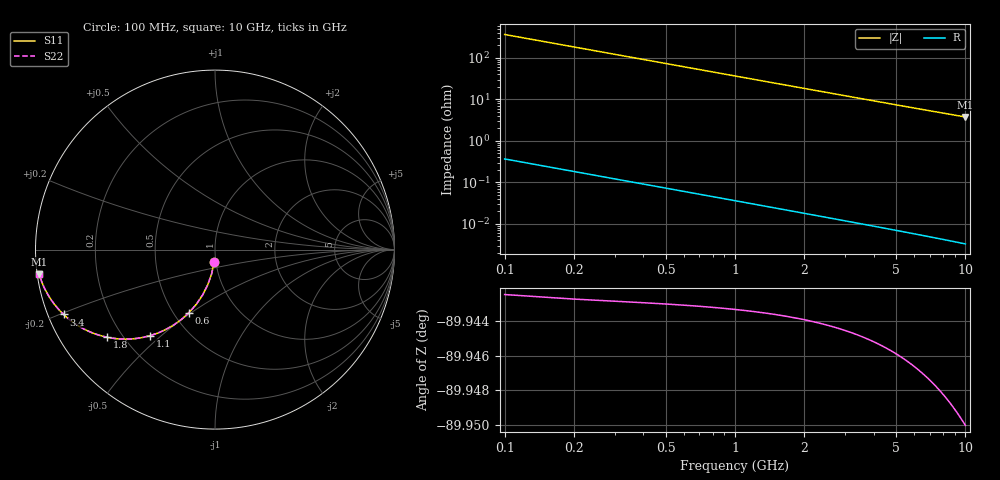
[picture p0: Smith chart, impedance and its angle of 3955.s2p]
# Hz S RI R 50.00
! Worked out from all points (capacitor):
!   100 points, 100 MHz to 10 GHz, reference 50 ohm
!   read as one part in shunt: C = 4.36 pF near 100 MHz
!   lowest |Z| = 3.76 ohm at 10 GHz (marker M1)
!   S11 on the Smith chart (normalised r, x): 100 MHz: 0.98, -0.13; 600 MHz: 0.60, -0.49; 1.1 GHz: 0.31, -0.46; 1.8 GHz: 0.14, -0.35; 3.4 GHz: 0.04, -0.20; 10 GHz: 0.01, -0.07
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1e8  -0.00472 -0.0681  0.9952 -0.0682  0.9952 -0.0682  -0.00472 -0.0681
2e8  -0.0185 -0.1344  0.9814 -0.1345  0.9814 -0.1345  -0.0185 -0.1344
3e8  -0.0407 -0.197  0.9593 -0.1972  0.9593 -0.1972  -0.0407 -0.197
4e8  -0.07 -0.2546  0.9299 -0.2549  0.9299 -0.2549  -0.07 -0.2546
5e8  -0.1052 -0.3062  0.8947 -0.3066  0.8947 -0.3066  -0.1052 -0.3062
6e8  -0.1447 -0.3511  0.8552 -0.3516  0.8552 -0.3516  -0.1447 -0.3511
7e8  -0.1872 -0.3893  0.8128 -0.3898  0.8128 -0.3898  -0.1872 -0.3893
8e8  -0.2311 -0.4207  0.7688 -0.4214  0.7688 -0.4214  -0.2311 -0.4207
9e8  -0.2755 -0.4459  0.7244 -0.4467  0.7244 -0.4467  -0.2755 -0.4459
1.1e9  -0.3621 -0.4797  0.6378 -0.4806  0.6378 -0.4806  -0.3621 -0.4797
1.4e9  -0.4789 -0.4985  0.5211 -0.4996  0.5211 -0.4996  -0.4789 -0.4985
1.6e9  -0.5454 -0.4968  0.4546 -0.4981  0.4546 -0.4981  -0.5454 -0.4968
1.8e9  -0.6028 -0.4881  0.3972 -0.4896  0.3972 -0.4896  -0.6028 -0.4881
2.1e9  -0.6736 -0.4675  0.3263 -0.4692  0.3263 -0.4692  -0.6736 -0.4675
2.5e9  -0.7451 -0.4343  0.2549 -0.4364  0.2549 -0.4364  -0.7451 -0.4343
2.9e9  -0.7971 -0.4004  0.2028 -0.4028  0.2028 -0.4028  -0.7971 -0.4004
3.4e9  -0.8436 -0.3613  0.1563 -0.3641  0.1563 -0.3641  -0.8436 -0.3613
4.2e9  -0.8915 -0.3087  0.1084 -0.3122  0.1084 -0.3122  -0.8915 -0.3087
5.1e9  -0.9237 -0.2628  0.0763 -0.2671  0.0763 -0.2671  -0.9237 -0.2628
6.7e9  -0.9543 -0.2055  0.0457 -0.2112  0.0457 -0.2112  -0.9543 -0.2055
8.4e9  -0.9704 -0.1653  0.0295 -0.1725  0.0295 -0.1725  -0.9704 -0.1653
1e10  -0.9789 -0.1386  0.021 -0.1472  0.021 -0.1472  -0.9789 -0.1386
